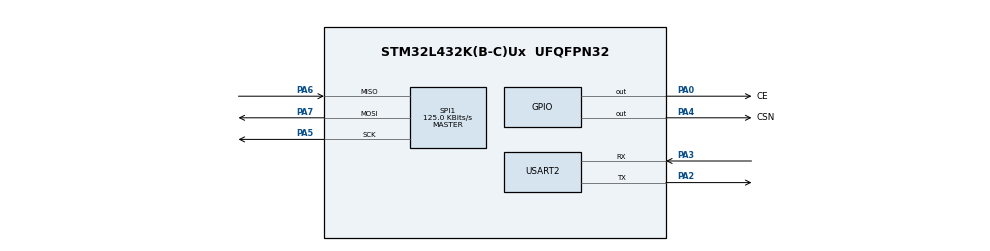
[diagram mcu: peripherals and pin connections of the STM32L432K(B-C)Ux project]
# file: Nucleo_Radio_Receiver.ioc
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Mcu.Family=STM32L4
Mcu.Name=STM32L432K(B-C)Ux
Mcu.Package=UFQFPN32
NVIC.PriorityGroup=NVIC_PRIORITYGROUP_4
PA0.GPIO_Label=CE
PA0.Signal=GPIO_Output
PA13\ (JTMS-SWDIO).Mode=Serial_Wire
PA13\ (JTMS-SWDIO).Signal=SYS_JTMS-SWDIO
PA14\ (JTCK-SWCLK).Mode=Serial_Wire
PA14\ (JTCK-SWCLK).Signal=SYS_JTCK-SWCLK
PA2.Mode=Asynchronous
PA2.Signal=USART2_TX
PA3.Mode=Asynchronous
PA3.Signal=USART2_RX
PA4.GPIO_Label=CSN
PA4.PinState=GPIO_PIN_RESET
PA4.Signal=GPIO_Output
PA5.Mode=Full_Duplex_Master
PA5.Signal=SPI1_SCK
PA6.Mode=Full_Duplex_Master
PA6.Signal=SPI1_MISO
PA7.Mode=Full_Duplex_Master
PA7.Signal=SPI1_MOSI
ProjectManager.HeapSize=0x200
ProjectManager.StackSize=0x400
ProjectManager.TargetToolchain=STM32CubeIDE
RCC.HSE_VALUE=8000000
RCC.HSI48_VALUE=48000000
RCC.HSI_VALUE=16000000
RCC.LSE_VALUE=32768
RCC.MSI_VALUE=4000000
RCC.VCOOutputFreq_Value=32000000
SPI1.BaudRatePrescaler=SPI_BAUDRATEPRESCALER_32
SPI1.CalculateBaudRate=125.0 KBits/s
SPI1.DataSize=SPI_DATASIZE_8BIT
SPI1.Direction=SPI_DIRECTION_2LINES
SPI1.Mode=SPI_MODE_MASTER
SPI1.VirtualType=VM_MASTER
USART2.VirtualMode-Asynchronous=VM_ASYNC
board=custom

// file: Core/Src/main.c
/* USER CODE BEGIN Header */
/**
  ******************************************************************************
  * @file           : main.c
  * @brief          : Main program body
  ******************************************************************************
  * @attention
  *
  * Copyright (c) 2023 STMicroelectronics.
  * All rights reserved.
  *
  * This software is licensed under terms that can be found in the LICENSE file
  * in the root directory of this software component.
  * If no LICENSE file comes with this software, it is provided AS-IS.
  *
  ******************************************************************************
  */
/* USER CODE END Header */
#include "main.h"

/* USER CODE BEGIN Includes */
#include "string.h"
#include "nRF24L01.h"
/* USER CODE END Includes */

SPI_HandleTypeDef hspi1;

UART_HandleTypeDef huart2;

void SystemClock_Config(void);
static void MX_GPIO_Init(void);
static void MX_SPI1_Init(void);
static void MX_USART2_UART_Init(void);
/* USER CODE BEGIN PFP */
uint8_t spiReadByte(uint8_t address);
void spiWriteByte(uint8_t address, uint8_t value);
void spiReadNByte(uint8_t reg, uint8_t *buf, uint8_t len);
void spiWriteNByte(uint8_t address, const uint8_t *buf, uint8_t len);
void setupTXsimple(void);
void checkTXsimple(uint8_t *buf, uint8_t *buf2 );
void transmitByte(uint8_t data);
void transmitBytes(uint8_t* txdata, uint8_t len);
void flushTXFIFO(void);
void flushRXFIFO(void);
void setupRXsimple();
uint8_t receiveByte();
void receiveBytes(uint8_t* rxdata, uint8_t len);
/* USER CODE END PFP */

int main(void)
{

  /* MCU Configuration--------------------------------------------------------*/

  /* Reset of all peripherals, Initializes the Flash interface and the Systick. */
  HAL_Init();

  /* Configure the system clock */
  SystemClock_Config();

  /* Initialize all configured peripherals */
  MX_GPIO_Init();
  MX_SPI1_Init();
  MX_USART2_UART_Init();
  /* USER CODE BEGIN 2 */
  setupRXsimple(); // Configure as a receiver

  HAL_GPIO_WritePin(GPIOA, CSN_Pin, GPIO_PIN_SET);
  HAL_GPIO_WritePin(GPIOA, CE_Pin, GPIO_PIN_SET);

  uint8_t receivedDataBuffer[8];
  uint8_t checkStatus;
  int16_t xval, yval, zval;
  uint16_t steps;
  char msg[80];
  /* USER CODE END 2 */

  /* Infinite loop */
  while (1)
  {

    /* USER CODE BEGIN 3 */
	HAL_Delay(100);
	checkStatus = spiReadByte(REG_STATUS);
	if (checkStatus & (1 << MASK_RX_DR))
	{
		//receivedByte = receiveByte();
		receiveBytes(receivedDataBuffer, 8);

		// Parse the received acceleration data
		xval = (receivedDataBuffer[1]<<8) | (receivedDataBuffer[0]);
		yval = (receivedDataBuffer[3]<<8) | (receivedDataBuffer[2]);
		zval = (receivedDataBuffer[5]<<8) | (receivedDataBuffer[4]);
		steps = (receivedDataBuffer[7]<<8) | (receivedDataBuffer[6]);

		sprintf(msg, "%d,%d,%d,%d\n", xval/16, yval/16, zval/16, steps);
		HAL_UART_Transmit(&huart2, msg, strlen(msg), 100);

		checkStatus = spiReadByte(REG_STATUS);
		// Clear RX_DR flag
		spiWriteByte(REG_STATUS, 0x40); // Assert bit 6 of Status high (clear RX_DR flag)
		// Flush RX FIFO
		flushRXFIFO();
		checkStatus = spiReadByte(REG_STATUS);
		// Stack overflow recommends reconfiguring as receiver here
		// I think it'll be fine, but that's another thing to try.
		// Source: https://stackoverflow.com/questions/51810883/nrf24l01-rx-mode-and-flush
	}
  }
  /* USER CODE END 3 */
}

void SystemClock_Config(void)
{
  RCC_OscInitTypeDef RCC_OscInitStruct = {0};
  RCC_ClkInitTypeDef RCC_ClkInitStruct = {0};

  /** Configure the main internal regulator output voltage
  */
  if (HAL_PWREx_ControlVoltageScaling(PWR_REGULATOR_VOLTAGE_SCALE1) != HAL_OK)
  {
    Error_Handler();
  }

  /** Initializes the RCC Oscillators according to the specified parameters
  * in the RCC_OscInitTypeDef structure.
  */
  RCC_OscInitStruct.OscillatorType = RCC_OSCILLATORTYPE_MSI;
  RCC_OscInitStruct.MSIState = RCC_MSI_ON;
  RCC_OscInitStruct.MSICalibrationValue = 0;
  RCC_OscInitStruct.MSIClockRange = RCC_MSIRANGE_6;
  RCC_OscInitStruct.PLL.PLLState = RCC_PLL_NONE;
  if (HAL_RCC_OscConfig(&RCC_OscInitStruct) != HAL_OK)
  {
    Error_Handler();
  }

  /** Initializes the CPU, AHB and APB buses clocks
  */
  RCC_ClkInitStruct.ClockType = RCC_CLOCKTYPE_HCLK|RCC_CLOCKTYPE_SYSCLK
                              |RCC_CLOCKTYPE_PCLK1|RCC_CLOCKTYPE_PCLK2;
  RCC_ClkInitStruct.SYSCLKSource = RCC_SYSCLKSOURCE_MSI;
  RCC_ClkInitStruct.AHBCLKDivider = RCC_SYSCLK_DIV1;
  RCC_ClkInitStruct.APB1CLKDivider = RCC_HCLK_DIV1;
  RCC_ClkInitStruct.APB2CLKDivider = RCC_HCLK_DIV1;

  if (HAL_RCC_ClockConfig(&RCC_ClkInitStruct, FLASH_LATENCY_0) != HAL_OK)
  {
    Error_Handler();
  }
}

static void MX_SPI1_Init(void)
{

  /* SPI1 parameter configuration*/
  hspi1.Instance = SPI1;
  hspi1.Init.Mode = SPI_MODE_MASTER;
  hspi1.Init.Direction = SPI_DIRECTION_2LINES;
  hspi1.Init.DataSize = SPI_DATASIZE_8BIT;
  hspi1.Init.CLKPolarity = SPI_POLARITY_LOW;
  hspi1.Init.CLKPhase = SPI_PHASE_1EDGE;
  hspi1.Init.NSS = SPI_NSS_SOFT;
  hspi1.Init.BaudRatePrescaler = SPI_BAUDRATEPRESCALER_32;
  hspi1.Init.FirstBit = SPI_FIRSTBIT_MSB;
  hspi1.Init.TIMode = SPI_TIMODE_DISABLE;
  hspi1.Init.CRCCalculation = SPI_CRCCALCULATION_DISABLE;
  hspi1.Init.CRCPolynomial = 7;
  hspi1.Init.CRCLength = SPI_CRC_LENGTH_DATASIZE;
  hspi1.Init.NSSPMode = SPI_NSS_PULSE_ENABLE;
  if (HAL_SPI_Init(&hspi1) != HAL_OK)
  {
    Error_Handler();
  }

}

static void MX_USART2_UART_Init(void)
{

  huart2.Instance = USART2;
  huart2.Init.BaudRate = 115200;
  huart2.Init.WordLength = UART_WORDLENGTH_8B;
  huart2.Init.StopBits = UART_STOPBITS_1;
  huart2.Init.Parity = UART_PARITY_NONE;
  huart2.Init.Mode = UART_MODE_TX_RX;
  huart2.Init.HwFlowCtl = UART_HWCONTROL_NONE;
  huart2.Init.OverSampling = UART_OVERSAMPLING_16;
  huart2.Init.OneBitSampling = UART_ONE_BIT_SAMPLE_DISABLE;
  huart2.AdvancedInit.AdvFeatureInit = UART_ADVFEATURE_NO_INIT;
  if (HAL_UART_Init(&huart2) != HAL_OK)
  {
    Error_Handler();
  }

}

static void MX_GPIO_Init(void)
{
  GPIO_InitTypeDef GPIO_InitStruct = {0};

  /* GPIO Ports Clock Enable */
  __HAL_RCC_GPIOA_CLK_ENABLE();

  /*Configure GPIO pin Output Level */
  HAL_GPIO_WritePin(GPIOA, CE_Pin|CSN_Pin, GPIO_PIN_RESET);

  /*Configure GPIO pins : CE_Pin CSN_Pin */
  GPIO_InitStruct.Pin = CE_Pin|CSN_Pin;
  GPIO_InitStruct.Mode = GPIO_MODE_OUTPUT_PP;
  GPIO_InitStruct.Pull = GPIO_NOPULL;
  GPIO_InitStruct.Speed = GPIO_SPEED_FREQ_LOW;
  HAL_GPIO_Init(GPIOA, &GPIO_InitStruct);

}

/* USER CODE BEGIN 4 */
uint8_t spitxbuffer[8];
uint8_t spirxbuffer[8];
uint8_t spiReadByte(uint8_t address)
{
	spitxbuffer[0] = address;
	spitxbuffer[1] = 0;

	HAL_GPIO_WritePin(GPIOA, CSN_Pin, GPIO_PIN_RESET); // put CSN = 0
	HAL_SPI_TransmitReceive(&hspi1, spitxbuffer, spirxbuffer, 2*sizeof(uint8_t), HAL_MAX_DELAY);
	HAL_GPIO_WritePin(GPIOA, CSN_Pin, GPIO_PIN_SET); // put CSN = 0
	return spirxbuffer[1];

}

void spiWriteByte(uint8_t address, uint8_t value)
{
	spitxbuffer[0] = address | 1<<5; // need to set 3 msb to 1 for writes
	spitxbuffer[1] = value;

	HAL_GPIO_WritePin(GPIOA, CSN_Pin, GPIO_PIN_RESET); // put CSN = 0
	HAL_SPI_TransmitReceive(&hspi1, spitxbuffer, spirxbuffer, 2, HAL_MAX_DELAY);
	HAL_GPIO_WritePin(GPIOA, CSN_Pin, GPIO_PIN_SET); // put CSN = 0

}

void spiWriteNByte(uint8_t address, const uint8_t *buf, uint8_t len)
{
	spitxbuffer[0] = address | 1 <<5;
	spitxbuffer[1] = 0;
	//Put CSN low
	HAL_GPIO_WritePin(GPIOA, CSN_Pin, GPIO_PIN_RESET); // put CSN = 0
	//Transmit register address
	HAL_SPI_Transmit(&hspi1, spitxbuffer, 1, HAL_MAX_DELAY);	//Receive data
	HAL_SPI_Transmit(&hspi1, (uint8_t *)buf, len, HAL_MAX_DELAY);
	//Bring CSN high
	HAL_GPIO_WritePin(GPIOA, CSN_Pin, GPIO_PIN_SET); // put CSN = 1
}

void setupTXsimple(void)
{
	spiWriteByte(REG_SETUP_RETR, 0x00); // no retransmission / acknowledgment
	spiWriteByte(REG_EN_AA, 0x00); //no auto acknowledge
	spiWriteByte(REG_SETUP_AW, 0x02); // makes address width 4 bytes
	spiWriteByte(REG_RF_CH, 0x02);// make frequency 2.402 Ghz
	spiWriteByte(REG_RF_SETUP, 0x26); // lowest data rate + highest output pwr

	// What is our TX_ADDRESS
	uint8_t TxAddr[4] = {0x00, 0x11, 0x22, 0x33};
	spiWriteNByte(REG_TX_ADDR, TxAddr, 4);
	// RX address is the same as TX address
	spiWriteNByte(REG_RX_ADDR_P0, TxAddr, 4);

	// Receive Pipes not used
	spiWriteByte(REG_EN_RXADDR, 0x01); // Only enable pipe 0 [bit 0 = 1]
	spiWriteByte(REG_RX_PW_P0, 0x01); // 1 byte payload length on pipe 0

	// no shockburst stuff
	spiWriteByte(REG_DYNPD, 0x00);
	spiWriteByte(REG_FEATURE, 0x00);

	// TX mode
	// Enable error correction, power up, PRIM_RX = 0 [PTX]
	spiWriteByte(REG_CONFIG, 0x0A);
}

void setupRXsimple(void)
{
	spiWriteByte(REG_SETUP_RETR, 0x00); // no retransmission / acknowledgment
	spiWriteByte(REG_EN_AA, 0x00); //no auto acknowledge
	spiWriteByte(REG_SETUP_AW, 0x02); // makes address width 4 bytes
	spiWriteByte(REG_RF_CH, 0x02);// make frequency 2.402 Ghz
	spiWriteByte(REG_RF_SETUP, 0x26); // lowest data rate + highest output pwr

	// Address for the radio that we expect to be receiving data from
	uint8_t TxAddr[4] = {0x00, 0x11, 0x22, 0x33};
	// The unique address for data pipe 0 (see page 39 of datasheet)
	uint8_t Rx_0_Addr[4] = {0x78, 0x78, 0x78, 0x78};

	// Configure RX pipe 0 to the unique address, and pipe 1 to our transmitter address
	spiWriteNByte(REG_RX_ADDR_P0, Rx_0_Addr, 4);
	spiWriteNByte(REG_RX_ADDR_P1, TxAddr, 4);

	// Use channel 1
	// Note: I'm note sure if we need to enable pipe 0 here, since transmission is over pipe 1. Enabling it to be safe.
	spiWriteByte(REG_EN_RXADDR, 0x03); // Enable pipes 0 and 1 [bit 0 and 1 = 1]
	spiWriteByte(REG_RX_PW_P1, 0x08); // 8 byte payload length on pipe 1

	// no shockburst stuff
	spiWriteByte(REG_DYNPD, 0x00);
	spiWriteByte(REG_FEATURE, 0x00);

	// RX mode
	// Enable error correction [bit 3], power up [bit 1], PRIM_RX = 1 [PRX] [bit 0]
	spiWriteByte(REG_CONFIG, 0x0B);
}

void checkTXsimple(uint8_t *buf, uint8_t *buf2 )
{

	buf[0] = spiReadByte(REG_SETUP_RETR);
	buf[13] = spiReadByte(REG_EN_AA); //no auto acknowledge
	buf[1] = spiReadByte(REG_SETUP_AW); // makes address width 4 bytes
	buf[2] = spiReadByte(REG_RF_CH);// make frequency 2.402 Ghz
	buf[3] = spiReadByte(REG_RF_SETUP); // lowest data rate + highest output pwr

	// What is our TX_ADDRESS
	spiReadNByte(REG_TX_ADDR, (uint8_t *)buf2, 4);

	// Receive Pipes not used
	buf[4] =  spiReadByte(REG_RX_PW_P0);
	buf[5] =  spiReadByte(REG_RX_PW_P1);
	buf[6] =  spiReadByte(REG_RX_PW_P2);
	buf[7] =  spiReadByte(REG_RX_PW_P3);
	buf[8] =  spiReadByte(REG_RX_PW_P4);
	buf[9] =  spiReadByte(REG_RX_PW_P5);

	// no shockburst stuff
	buf[10] =  spiReadByte(REG_DYNPD);
	buf[11] =  spiReadByte(REG_FEATURE);
	buf[12] =  spiReadByte(REG_CONFIG);
}

void transmitByte(uint8_t data)
{
	uint8_t txData[2];
	txData[0] = 0xB0; // using the W_TX_PAYLOAD_NOACK cmd
	txData[1] = data;

	HAL_GPIO_WritePin(GPIOA, CSN_Pin, GPIO_PIN_RESET); // put CSN = 0
	// Send W_TX_Command
	HAL_SPI_Transmit(&hspi1, txData, 2, HAL_MAX_DELAY);
	HAL_GPIO_WritePin(GPIOA, CSN_Pin, GPIO_PIN_SET); // put CSN = 1
}

void transmitBytes(uint8_t* txdata, uint8_t len)
{
	uint8_t txPayload = 0xB0;
	HAL_GPIO_WritePin(GPIOA, CSN_Pin, GPIO_PIN_RESET);
	HAL_SPI_Transmit(&hspi1, &txPayload, 1, HAL_MAX_DELAY);
	HAL_SPI_Transmit(&hspi1, txdata, len, HAL_MAX_DELAY);
	HAL_GPIO_WritePin(GPIOA, CSN_Pin, GPIO_PIN_SET);
}

uint8_t receiveByte()
{
	uint8_t txData[2];
	uint8_t rxData[2];
	txData[0] = 0x61; // using the R_RX_PAYLOAD command
	txData[1] = 0x00;
	HAL_GPIO_WritePin(GPIOA, CSN_Pin, GPIO_PIN_RESET); // put CSN = 0
	// Send R_RX_PAYLOAD
	HAL_SPI_TransmitReceive(&hspi1, txData, rxData, 2*sizeof(uint8_t), HAL_MAX_DELAY);
	HAL_GPIO_WritePin(GPIOA, CSN_Pin, GPIO_PIN_SET); // put CSN = 1
	return rxData[1];
}

void receiveBytes(uint8_t* rxdata, uint8_t len)
{
	uint8_t txPayload = 0x61;
	uint8_t txzeros[6];
	txzeros[0] = 0x00; // using the R_RX_PAYLOAD command
	txzeros[1] = 0x00;
	txzeros[2] = 0x00;
	txzeros[3] = 0x00;
	txzeros[4] = 0x00;
	txzeros[5] = 0x00;
	HAL_GPIO_WritePin(GPIOA, CSN_Pin, GPIO_PIN_RESET); // put CSN = 0
	// Send R_RX_PAYLOAD
	HAL_SPI_Transmit(&hspi1, &txPayload, 1, HAL_MAX_DELAY);
	HAL_SPI_TransmitReceive(&hspi1, txzeros, rxdata, len, HAL_MAX_DELAY);
	HAL_GPIO_WritePin(GPIOA, CSN_Pin, GPIO_PIN_SET); // put CSN = 1
}

void flushTXFIFO(void)
{
	uint8_t txData[2];
	txData[0] = 0xE1; // using the FLUSH_TX cmd
	txData[1] = 0x00;
	HAL_GPIO_WritePin(GPIOA, CSN_Pin, GPIO_PIN_RESET); // put CSN = 0
	// Send W_TX_Command
	HAL_SPI_Transmit(&hspi1, txData, 1, HAL_MAX_DELAY);
	HAL_GPIO_WritePin(GPIOA, CSN_Pin, GPIO_PIN_SET); // put CSN = 1
}

void flushRXFIFO(void)
{
	uint8_t txData = 0xE2; // using the FLUSH_RX command (1110 0010)
	HAL_GPIO_WritePin(GPIOA, CSN_Pin, GPIO_PIN_RESET); // put CSN = 0
	// Send W_TX_Command
	HAL_SPI_Transmit(&hspi1, &txData, 1*sizeof(uint8_t), HAL_MAX_DELAY);
	HAL_GPIO_WritePin(GPIOA, CSN_Pin, GPIO_PIN_SET); // put CSN = 1
}
/* USER CODE END 4 */

void Error_Handler(void)
{
  __disable_irq();
  while (1)
  {
  }
}
